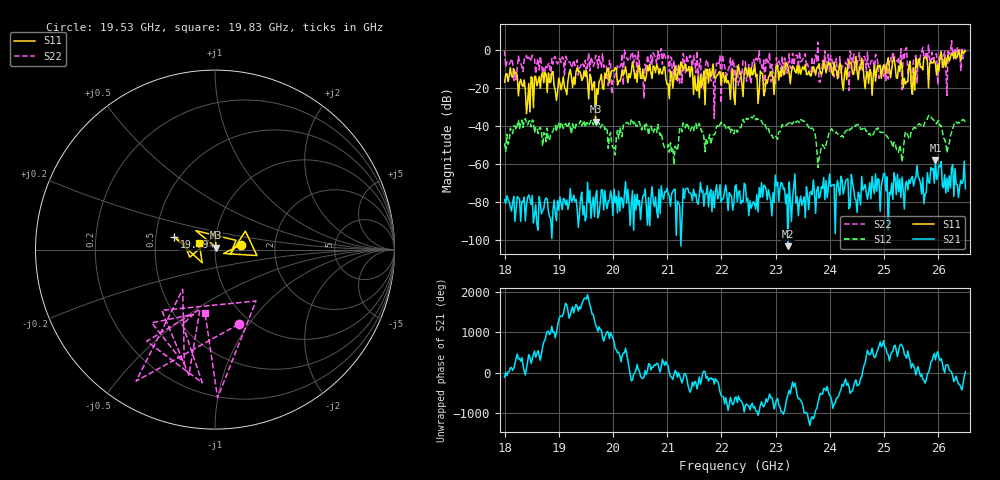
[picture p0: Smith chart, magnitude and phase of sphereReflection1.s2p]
!Keysight Technologies,N5242B,MY47200105,A.14.00.23
!Date: Friday, May 10, 2024 11:26:24
!Correction: S11(C  2-Port  )
!S21(C  2-Port  )
!S12(C  2-Port  )
!S22(C  2-Port  )
!S2P File: Measurement: :
# Hz S  RI  R 50
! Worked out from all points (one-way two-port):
!   401 points, 18 GHz to 26.5 GHz, reference 50 ohm
!   highest |S21| = -57.64 dB at 25.95 GHz (marker M1); lowest = -103.0 dB at 23.23 GHz (marker M2)
!   lowest |S11| = -37.5 dB at 19.68 GHz (marker M3), VSWR 1.03, Z = 50.7 + j1.15 ohm
!   |S11| at or under -10 dB: 18.17 GHz to 19.21 GHz (1.039 GHz wide, 5.56 % of centre); 19.35 GHz to 19.89 GHz (543.4 MHz wide, 2.77 % of centre); 21.86 GHz to 22.3 GHz (443.8 MHz wide, 2.01 % of centre) (the widest 3 of 63)
!   |S22| runs from -35.7 to 5.3 dB; largest |S21 - S12| = 0.02
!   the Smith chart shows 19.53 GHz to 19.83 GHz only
!   S11 on the Smith chart (normalised r, x): 19.53 GHz: 1.34, +0.08; 19.79 GHz: 0.62, +0.09; 19.83 GHz: 0.84, +0.06
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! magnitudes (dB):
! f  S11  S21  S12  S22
! 18 GHz  -16.7  -78.6  -48.8  -0.1
! 18.43 GHz  -27.4  -77.4  -39.2  -4.9
! 19.42 GHz  -15.9  -74.6  -39.7  -6.4
! 19.53 GHz  -16.6  -69.4  -38.1  -7.2
! 19.68 GHz  -37.5  -76.4  -36.5  -2.6
! 19.79 GHz  -12.5  -73.4  -39.5  -8.7
! 19.83 GHz  -20.5  -84.0  -38.6  -8.9
! 20.02 GHz  -10.9  -72.9  -51.1  -16.0
! 20.23 GHz  -8.5  -69.0  -38.5  -2.1
! 20.55 GHz  -9.8  -76.6  -39.3  -13.5
! 20.85 GHz  -12.5  -73.0  -42.2  -4.5
! 21.08 GHz  -12.7  -75.3  -53.1  -4.2
! 21.34 GHz  -7.3  -73.1  -40.8  -11.7
! 22.25 GHz  -28.6  -71.6  -41.2  -15.9
! 23.23 GHz  -8.8  -103.0  -38.5  -6.9
! 23.67 GHz  -10.2  -75.9  -40.8  -3.5
! 23.8 GHz  -7.0  -77.7  -56.9  -16.6
! 24.04 GHz  -11.4  -71.0  -41.3  -4.4
! 25.1 GHz  -9.2  -74.7  -46.5  -6.2
! 25.95 GHz  -7.1  -57.6  -38.1  -2.1
! 26.16 GHz  -4.3  -67.2  -53.9  -23.7
! 26.5 GHz  -0.5  -72.8  -37.6  0.6
